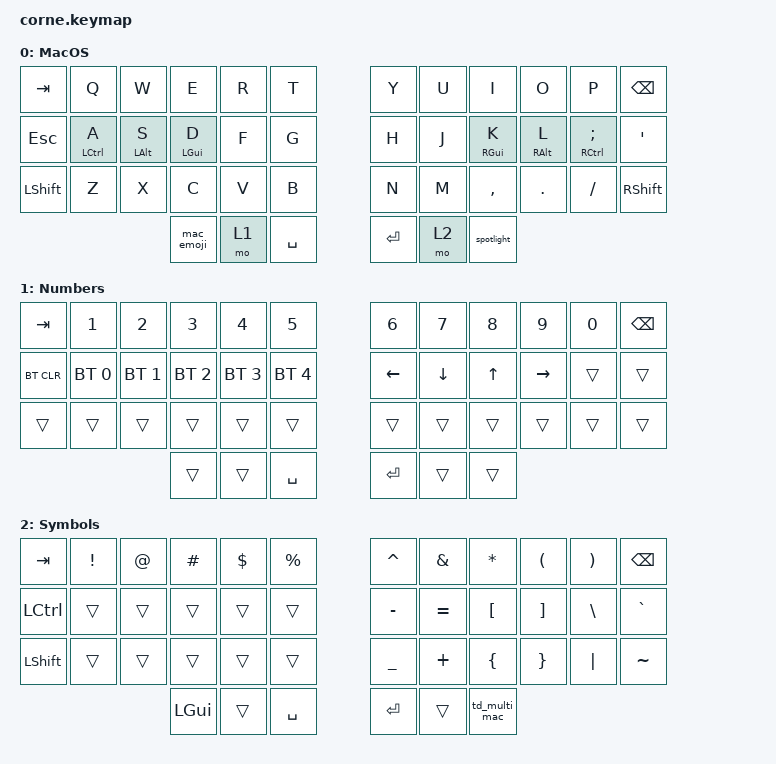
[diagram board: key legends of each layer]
/*
 * Copyright (c) 2020 The ZMK Contributors
 *
 * SPDX-License-Identifier: MIT
 */

#include <behaviors.dtsi>
#include <dt-bindings/zmk/keys.h>
#include <dt-bindings/zmk/bt.h>


/ {
    macros {
        spotlight: spotlight {
            label = "spotlight";
            compatible = "zmk,behavior-macro";
            #binding-cells = <0>;
            bindings = <&macro_press &kp LGUI>, <&macro_tap &kp SPACE>, <&macro_release &kp LGUI>;
        };

        // Emoji
        mac_emoji: mac_emoji {
            label = "mac_emoji";
            compatible = "zmk,behavior-macro";
            #binding-cells = <0>;
            bindings = <&macro_press &kp LGUI>, <&macro_press &kp LCTRL>, <&macro_tap &kp SPACE>, <&macro_release &kp LCTRL>, <&macro_release &kp LGUI>;
        };

        win_emoji: win_emoji {
            label = "win_emoji";
            compatible = "zmk,behavior-macro";
            #binding-cells = <0>;
            bindings = <&macro_press &kp LGUI>, <&macro_tap &kp DOT>, <&macro_release &kp LGUI>;
        };
    };

    behaviours {
        td_multi_mac: tap_dance_multi_mac {
            compatible = "zmk,behavior-tap-dance";
            label = "TAP_DANCE_MULTI_MAC";
            #binding-cells = <0>;
            tapping-term-ms = <200>;
            bindings = <&kp ESC>, <&spotlight>, <&mac_emoji>;
        };

        hm: home_row_mods {
            compatible = "zmk,behavior-hold-tap";
            label = "HOME_ROW_MODS";
            #binding-cells = <2>;
            tapping-term-ms = <225>;
            quick-tap-ms = <0>;
            flavor = "tap-preferred";
            bindings = <&kp>, <&kp>;
        };

//        hm: home_row_mods {
//            compatible = "zmk,behavior-hold-tap";
//            label = "HOME_ROW_MODS";
//            #binding-cells = <2>;
//            tapping-term-ms = <200>;
//            quick-tap-ms = <0>;
//            flavor = "tap-preferred";
//            bindings = <&kp>, <&kp>;
//            retro-tap;
//        };

        bm: bottom_row_mods {
            compatible = "zmk,behavior-hold-tap";
            label = "BOTTOM_ROW_MODS";
            #binding-cells = <2>;
            tapping-term-ms = <135>;
            quick-tap-ms = <0>;
            flavor = "tap-preferred";
            bindings = <&kp>, <&kp>;
        };

        sm: space_mod {
            compatible = "zmk,behavior-hold-tap";
            label = "SPACE_MOD";
            #binding-cells = <2>;
            flavor = "balanced";
            tapping-term-ms = <200>;
            quick-tap-ms = <125>;
            bindings = <&kp>, <&kp>;
        };
    };

    keymap {
        compatible = "zmk,keymap";

        default_layer {
            label = "MacOS";
            // ---------------------------------------------------------------------------------------------------------------------------
            // |  TAB  |     Q    |    W    |    E    |  R  |  T  |   |  Y  |  U  |    I    |    O    |     P    |    BKSP    |
            // | ESC   |  CTRL,A  |  OPT,S  |  CMD,D  |  F  |  G  |   |  H  |  J  |  CMD,K  |  OPT,L  |  CTRL,;  |     '      |
            // | emoji |     Z    |    X    |    C    |  V  |  B  |   |  N  |  M  |    ,    |    .    |     /    | spotlight  |
            //                    |   SHIFT   |  Numbers  |  SPC  |   |  ENT  |  Symbols  |  SHIFT  |
            bindings = <
               &kp TAB    &kp Q       &kp W      &kp E     &kp R &kp T    &kp Y &kp U  &kp I     &kp O      &kp P          &kp BSPC
               &kp ESC    &hm LCTRL A &hm LALT S &hm LGUI D &kp F &kp G    &kp H &kp J  &hm RGUI K &hm RALT L &hm RCTRL SEMI &kp SQT
               &kp LSHFT  &kp Z       &kp X      &kp C      &kp V &kp B    &kp N &kp M  &kp COMMA  &kp DOT    &kp FSLH       &kp RSHFT
                                             &mac_emoji &mo 1 &kp SPACE    &kp RET &mo 2 &spotlight
            >;
        };

        lower_layer {
            label = "Numbers";
            // -----------------------------------------------------------------------------------------
            // |  TAB |  1  |  2  |  3  |  4  |  5  |   |  6  |  7  |  8  |  9  |  0  | BKSP |
            // | BTCLR| BT1 | BT2 | BT3 | BT4 | BT5 |   | LFT | DWN |  UP | RGT |     |      |
            // |      |     |     |     |     |     |   |     |     |     |     |     |      |
            //                    |     |     | SPC |   | ENT |     |     |
            bindings = <
               &kp TAB    &kp N1       &kp N2       &kp N3       &kp N4       &kp N5            &kp N6   &kp N7   &kp N8 &kp N9    &kp N0 &kp BSPC
               &bt BT_CLR &bt BT_SEL 0 &bt BT_SEL 1 &bt BT_SEL 2 &bt BT_SEL 3 &bt BT_SEL 4      &kp LEFT &kp DOWN &kp UP &kp RIGHT &trans &trans
               &trans     &trans       &trans       &trans       &trans       &trans            &trans   &trans   &trans &trans    &trans &trans
                                                                   &trans &trans &kp SPACE      &kp RET  &trans   &trans
            >;
        };

        raise_layer {
            label = "Symbols";
            // -----------------------------------------------------------------------------------------
            // |  TAB |  !  |  @  |  #  |  $  |  %  |   |  ^  |  &  |  *  |  (  |  )  | BKSP |
            // | CTRL |     |     |     |     |     |   |  -  |  =  |  [  |  ]  |  \  |  `   |
            // | SHFT |     |     |     |     |     |   |  _  |  +  |  {  |  }  | "|" |  ~   |
            //                    | GUI |     | SPC |   | ENT |     | ALT |
            bindings = <
               &kp  TAB  &kp EXCL &kp AT &kp HASH &kp DLLR &kp PRCNT   &kp CARET &kp AMPS  &kp ASTRK &kp LPAR &kp RPAR &kp BSPC
               &kp LCTRL &trans   &trans &trans   &trans   &trans      &kp MINUS &kp EQUAL &kp LBKT  &kp RBKT &kp BSLH &kp GRAVE
               &kp LSHFT &trans   &trans &trans   &trans   &trans      &kp UNDER &kp PLUS  &kp LBRC  &kp RBRC &kp PIPE &kp TILDE
                                         &kp LGUI &trans   &kp SPACE   &kp RET   &trans    &td_multi_mac
            >;
        };
    };
};
